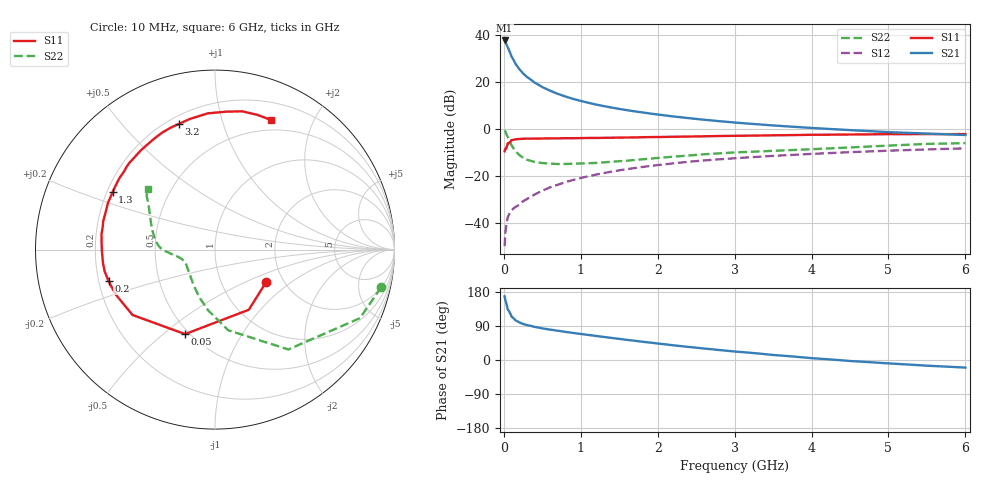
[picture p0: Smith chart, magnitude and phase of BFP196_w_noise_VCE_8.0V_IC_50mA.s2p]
! Infineon Technologies  Discrete & RF Semiconductors
! BFP196
! VCE =  8.0 V,  IC =  50 mA
! Common Emitter S-Parameters:  Jan 2017
# GHz  S  MA  R  50
!  f  S11  S21  S12  S22
! GHz  MAG  ANG  MAG  ANG  MAG  ANG  MAG  ANG
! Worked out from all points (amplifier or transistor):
!   77 points, 10 MHz to 6 GHz, reference 50 ohm
!   highest |S21| = 37.9 dB at 10 MHz (marker M1)
!   |S21| within 3 dB of that: start of sweep to 51.82 MHz
!   unconditionally stable (mu >= 1): 585.5 MHz to 2.409 GHz
!   at 130 MHz: K = 0.59, MSG = 31.5 dB, |S12| = -33.7 dB
!   at 2.2 GHz: K = 1.01, MAG = 9.4 dB, |S12| = -14.6 dB
!   at 6 GHz: K = 0.94, MSG = 2.8 dB, |S12| = -8.2 dB
!   lowest NFmin = 1.45 dB at 450 MHz
!   S11 on the Smith chart (normalised r, x): 10 MHz: 1.62, -0.67; 50 MHz: 0.47, -0.59; 200 MHz: 0.24, -0.14; 1.3 GHz: 0.22, +0.25; 3.2 GHz: 0.24, +0.72; 6 GHz: 0.38, +1.45
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0.01  0.3376 -32.8  78.16 168.0  0.0032 82.4  0.9487 -12.8
0.02  0.3844 -60.7  74.76 157.5  0.0063 76.0  0.8935 -25.3
0.05  0.4994 -109.5  56.18 133.7  0.0132 58.7  0.6904 -53.7
0.1  0.5864 -141.6  35.55 114.3  0.0187 52.4  0.4552 -80.7
0.15  0.6075 -155.8  25.08 105.0  0.0219 53.9  0.3408 -96.4
0.2  0.6185 -163.5  19.23 99.3  0.0244 56.6  0.2822 -107.6
0.25  0.6267 -169.0  15.54 95.1  0.0291 58.6  0.2465 -116.1
0.3  0.6284 -173.0  13.02 92.2  0.0323 60.2  0.2241 -123.4
0.4  0.6301 -179.1  9.873 87.3  0.0404 63.7  0.2005 -133.5
0.5  0.6332 176.2  7.917 83.5  0.0486 65.0  0.1897 -141.0
0.6  0.6382 172.2  6.633 80.2  0.0575 65.8  0.1845 -147.0
0.7  0.638 168.8  5.687 77.3  0.0653 66.2  0.1807 -151.3
0.9  0.643 162.3  4.431 71.4  0.0827 65.5  0.1835 -157.3
1.1  0.6508 156.3  3.654 66.1  0.0995 63.7  0.1883 -161.9
1.3  0.6543 150.6  3.105 60.9  0.116 62.0  0.1964 -165.3
1.6  0.6657 142.5  2.547 53.2  0.1409 58.5  0.2127 -169.5
2.1  0.685 129.4  1.963 41.3  0.1791 52.2  0.251 -175.2
3.1  0.7252 108.0  1.349 20.8  0.2458 39.0  0.3243 173.8
3.2  0.7282 106.1  1.31 19.1  0.2517 37.8  0.3294 172.4
4.1  0.7613 91.5  1.042 3.5  0.3023 27.0  0.3808 158.8
5.1  0.7849 77.6  0.854 -10.1  0.3526 15.4  0.4543 145.1
6  0.7864 66.7  0.751 -20.1  0.3907 5.4  0.5051 137.9
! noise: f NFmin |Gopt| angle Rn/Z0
0.45  1.45  0.4  -176  0.06
0.9  1.6  0.47  -164  0.08
1.9  2.42  0.68  -132  0.32
2.4  2.82  0.7  -119  0.66
